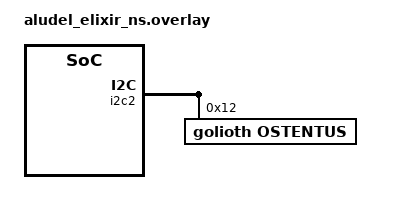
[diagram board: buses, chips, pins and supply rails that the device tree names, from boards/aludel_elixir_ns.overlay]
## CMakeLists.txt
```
# Copyright (c) 2022-2023 Golioth, Inc.
# SPDX-License-Identifier: Apache-2.0

cmake_minimum_required(VERSION 3.20.0)

find_package(Zephyr REQUIRED HINTS $ENV{ZEPHYR_BASE})

project(rd_template)

target_sources(app PRIVATE src/main.c)
target_sources(app PRIVATE src/app_rpc.c)
target_sources(app PRIVATE src/app_settings.c)
target_sources(app PRIVATE src/app_state.c)
target_sources(app PRIVATE src/app_sensors.c)
```

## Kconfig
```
# Copyright (c) 2022-2023 Golioth, Inc.
# SPDX-License-Identifier: Apache-2.0

mainmenu "Golioth application options"

if DNS_RESOLVER

config DNS_SERVER_IP_ADDRESSES
	default y

config DNS_SERVER1
	default "1.1.1.1"

endif # DNS_RESOLVER

source "Kconfig.zephyr"
```

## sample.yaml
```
# Copyright (c) 2022-2023 Golioth, Inc.
# SPDX-License-Identifier: Apache-2.0

sample:
  description: Golioth Reference Design Template
  name: rd_template
common:
  harness: net
  platform_allow: >
    nrf9160dk_nrf9160_ns
  tags: golioth
```

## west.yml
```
# Copyright (c) 2022-2023 Golioth, Inc.
# SPDX-License-Identifier: Apache-2.0

manifest:
  version: 1.0

  projects:
    - name: golioth
      path: modules/lib/golioth-firmware-sdk
      revision: v0.21.0
      url: https://github.com/golioth/golioth-firmware-sdk.git
      west-commands: scripts/west-commands.yml
      submodules: true
      import:
        file: west-ncs.yml
        path-prefix: deps
        name-allowlist:
          - nrf
          - zephyr
          - cmsis_6
          - hal_nordic
          - mbedtls
          - mbedtls-nrf
          - mcuboot
          - net-tools
          - nrfxlib
          - oberon-psa-crypto
          - qcbor
          - segger
          - tfm-mcuboot
          - tinycrypt
          - trusted-firmware-m
          - zcbor

    - name: golioth-zephyr-boards
      path: deps/modules/lib/golioth-boards
      revision: v2.1.1
      url: https://github.com/golioth/golioth-zephyr-boards

    - name: libostentus
      path: deps/modules/lib/libostentus
      revision: v2.0.0
      url: https://github.com/golioth/libostentus

    - name: zephyr-network-info
      path: deps/modules/lib/network-info
      revision: v1.2.0
      url: https://github.com/golioth/zephyr-network-info

    - name: golioth-battery-monitor
      path: deps/modules/lib/battery-monitor
      revision: v1.1.0
      url: https://github.com/golioth/battery-monitor

  self:
    path: app
```

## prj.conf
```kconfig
# Copyright (c) 2022-2023 Golioth, Inc.
# SPDX-License-Identifier: Apache-2.0

# Enable Golioth Firmware SDK
CONFIG_GOLIOTH_FIRMWARE_SDK=y

# Golioth services used in this app
CONFIG_GOLIOTH_FW_UPDATE=y
CONFIG_GOLIOTH_LIGHTDB_STATE=y
CONFIG_LOG_BACKEND_GOLIOTH=y
CONFIG_GOLIOTH_RPC=y
CONFIG_GOLIOTH_SETTINGS=y
CONFIG_GOLIOTH_STREAM=y

# Enable common sample library
CONFIG_GOLIOTH_SAMPLE_COMMON=y

# Configure Golioth SDK dependencies
CONFIG_ZVFS_EVENTFD_MAX=14
CONFIG_ZVFS_OPEN_MAX=23
CONFIG_LOG_PROCESS_THREAD_STACK_SIZE=1536
CONFIG_MBEDTLS_ENABLE_HEAP=y
CONFIG_MBEDTLS_HEAP_SIZE=10240
CONFIG_NETWORKING=y
CONFIG_NET_IPV4=y
CONFIG_COAP_EXTENDED_OPTIONS_LEN=y
CONFIG_COAP_EXTENDED_OPTIONS_LEN_VALUE=39

# Application
CONFIG_MAIN_STACK_SIZE=2048
CONFIG_NET_LOG=y
CONFIG_NET_SHELL=y
CONFIG_REBOOT=y

# Flash memory (etc.) for firmware upgrade
CONFIG_FLASH=y
CONFIG_FLASH_MAP=y
CONFIG_NVS=y
CONFIG_STREAM_FLASH=y
CONFIG_IMG_MANAGER=y
CONFIG_IMG_ERASE_PROGRESSIVELY=y
CONFIG_REBOOT=y

# The rest of the runtime credentials config
CONFIG_SETTINGS=y
CONFIG_SETTINGS_RUNTIME=y
CONFIG_GOLIOTH_SAMPLE_SETTINGS_AUTOLOAD=y
CONFIG_GOLIOTH_SAMPLE_SETTINGS_SHELL=y

# Misc.
CONFIG_JSON_LIBRARY=y

# Longer response length needed for network info
CONFIG_GOLIOTH_RPC_MAX_RESPONSE_LEN=512
CONFIG_I2C=y
```

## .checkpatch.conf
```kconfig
# Copyright (c) 2023 Zephyr Project members and individual contributors
# Copyright (c) 2023 Golioth, Inc.
# SPDX-License-Identifier: Apache-2.0

--emacs
--summary-file
--show-types
--max-line-length=100
--min-conf-desc-length=1
--typedefsfile=../deps/zephyr/scripts/checkpatch/typedefsfile

--ignore BRACES
--ignore PRINTK_WITHOUT_KERN_LEVEL
--ignore SPLIT_STRING
--ignore VOLATILE
--ignore CONFIG_EXPERIMENTAL
--ignore PREFER_KERNEL_TYPES
--ignore PREFER_SECTION
--ignore AVOID_EXTERNS
--ignore NETWORKING_BLOCK_COMMENT_STYLE
--ignore DATE_TIME
--ignore MINMAX
--ignore CONST_STRUCT
--ignore FILE_PATH_CHANGES
--ignore SPDX_LICENSE_TAG
--ignore C99_COMMENT_TOLERANCE
--ignore REPEATED_WORD
--ignore UNDOCUMENTED_DT_STRING
--ignore DT_SPLIT_BINDING_PATCH
--ignore DT_SCHEMA_BINDING_PATCH
--ignore TRAILING_SEMICOLON
--ignore COMPLEX_MACRO
--ignore MULTISTATEMENT_MACRO_USE_DO_WHILE
--ignore ENOSYS

--no-tree
--exclude patches
```

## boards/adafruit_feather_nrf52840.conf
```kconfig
# Copyright (c) 2022-2023 Golioth, Inc.
# SPDX-License-Identifier: Apache-2.0
CONFIG_GOLIOTH_SAMPLES_COMMON=y

CONFIG_LOG=y

CONFIG_NETWORKING=y
CONFIG_NET_L2_OPENTHREAD=y
CONFIG_MPSL=y

CONFIG_NET_SHELL=y
CONFIG_OPENTHREAD_SHELL=y
CONFIG_SHELL_ARGC_MAX=26
CONFIG_SHELL_CMD_BUFF_SIZE=416

# IMPORTANT: Change the Thread network credentials to match your Thread network setup
CONFIG_OPENTHREAD_NORDIC_LIBRARY_MASTER=y
CONFIG_OPENTHREAD_NETWORK_NAME="golioth-thread"
CONFIG_OPENTHREAD_NETWORKKEY="ef:4c:40:63:1c:65:d4:d9:c7:27:6e:c2:9c:d3:66:c4"
CONFIG_OPENTHREAD_CHANNEL=26

CONFIG_MBEDTLS_SHA1_C=n
CONFIG_FPU=y

# TLS configuration
CONFIG_MBEDTLS=y
CONFIG_MBEDTLS_BUILTIN=n
CONFIG_MBEDTLS_ENABLE_HEAP=y
CONFIG_MBEDTLS_HEAP_SIZE=10240

# PSK needs to be manually enabled to prevent ENOTSUP (-134)
CONFIG_MBEDTLS_KEY_EXCHANGE_SOME_PSK_ENABLED=y
CONFIG_MBEDTLS_KEY_EXCHANGE_PSK_ENABLED=y
CONFIG_NET_SOCKETS_SOCKOPT_TLS=y

# Golioth-specific configuration
CONFIG_GOLIOTH=y
CONFIG_GOLIOTH_SYSTEM_CLIENT=y

CONFIG_LOG_BACKEND_GOLIOTH=y
CONFIG_LOG_PROCESS_THREAD_STACK_SIZE=2048

# NAT64-prefixed coap.golioth.io IPv4
CONFIG_GOLIOTH_SYSTEM_SERVER_HOST="fd87:b615:1a98:2:0:0:2287:5a70"

#Increase TLS message size
CONFIG_MBEDTLS_SSL_IN_CONTENT_LEN=1400

# Debug
CONFIG_THREAD_NAME=y
CONFIG_SCHED_CPU_MASK=y
CONFIG_THREAD_ANALYZER=y

CONFIG_THREAD_NAME=y

# Shell setup
CONFIG_SHELL=y

# Settings shell
CONFIG_SETTINGS=y
CONFIG_GOLIOTH_SETTINGS=y
CONFIG_SETTINGS_RUNTIME=y
CONFIG_GOLIOTH_SAMPLE_PSK_SETTINGS=y
CONFIG_GOLIOTH_SAMPLE_SETTINGS_AUTOLOAD=y
CONFIG_GOLIOTH_SAMPLE_SETTINGS_SHELL=y

CONFIG_FLASH=y
CONFIG_FLASH_MAP=y
CONFIG_NVS=y

CONFIG_SYSTEM_WORKQUEUE_STACK_SIZE=8192
```

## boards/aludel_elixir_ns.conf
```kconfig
# Copyright (c) 2024 Golioth, Inc.
# SPDX-License-Identifier: Apache-2.0

# Battery Support
CONFIG_ALUDEL_BATTERY_MONITOR=y

# Turn on regulator to power click headers
CONFIG_REGULATOR=y
```

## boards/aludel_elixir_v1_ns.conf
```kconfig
# Copyright (c) 2023 Golioth, Inc.
# SPDX-License-Identifier: Apache-2.0

# General config
CONFIG_HEAP_MEM_POOL_SIZE=4096
CONFIG_NEWLIB_LIBC=y

# Networking
CONFIG_NET_SOCKETS_OFFLOAD=y
CONFIG_NET_IPV6=y
CONFIG_NET_IPV6_NBR_CACHE=n
CONFIG_NET_IPV6_MLD=n

# Increase native TLS socket implementation, so that it is chosen instead of
# offloaded nRF91 sockets
CONFIG_NET_SOCKETS_TLS_PRIORITY=35

# Modem library
CONFIG_NRF_MODEM_LIB=y
CONFIG_NRF_MODEM_LIB_ON_FAULT_APPLICATION_SPECIFIC=y

# LTE connectivity with network connection manager
CONFIG_LTE_CONNECTIVITY=y
CONFIG_NET_CONNECTION_MANAGER=y
CONFIG_NET_CONNECTION_MANAGER_MONITOR_STACK_SIZE=1024

# Increased sysworkq size, due to LTE connectivity
CONFIG_SYSTEM_WORKQUEUE_STACK_SIZE=2048

# Disable options y-selected by NCS for no good reason
CONFIG_MBEDTLS_KEY_EXCHANGE_DHE_PSK_ENABLED=n
CONFIG_MBEDTLS_KEY_EXCHANGE_DHE_RSA_ENABLED=n

# Fuel Gauge
CONFIG_SENSOR=y

# Add Network Info Support
CONFIG_MODEM_INFO=y
CONFIG_GOLIOTH_RPC_MAX_RESPONSE_LEN=512

# Generate MCUboot compatible images
CONFIG_BOOTLOADER_MCUBOOT=y

# Use Golioth Ostentus Faceplate
CONFIG_LIB_OSTENTUS=y
```

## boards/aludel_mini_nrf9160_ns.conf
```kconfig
# Copyright (c) 2023 Golioth, Inc.
# SPDX-License-Identifier: Apache-2.0

# Battery Support
CONFIG_ALUDEL_BATTERY_MONITOR=y
```

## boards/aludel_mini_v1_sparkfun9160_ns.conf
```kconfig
# Copyright (c) 2023 Golioth, Inc.
# SPDX-License-Identifier: Apache-2.0

# General config
CONFIG_HEAP_MEM_POOL_SIZE=4096
CONFIG_NEWLIB_LIBC=y

# Networking
CONFIG_NET_SOCKETS_OFFLOAD=y
CONFIG_NET_IPV6=y
CONFIG_NET_IPV6_NBR_CACHE=n
CONFIG_NET_IPV6_MLD=n

# Increase native TLS socket implementation, so that it is chosen instead of
# offloaded nRF91 sockets
CONFIG_NET_SOCKETS_TLS_PRIORITY=35

# Modem library
CONFIG_NRF_MODEM_LIB=y
CONFIG_NRF_MODEM_LIB_ON_FAULT_APPLICATION_SPECIFIC=y

# LTE connectivity with network connection manager
CONFIG_NRF_MODEM_LIB_NET_IF=y
CONFIG_NRF_MODEM_LIB_NET_IF_AUTO_START=y
CONFIG_NRF_MODEM_LIB_NET_IF_AUTO_CONNECT=n
CONFIG_NET_CONNECTION_MANAGER=y
CONFIG_NET_CONNECTION_MANAGER_MONITOR_STACK_SIZE=1024

# Add Logs for LTE Link Handler
CONFIG_GOLIOTH_SAMPLE_NRF91_LTE_MONITOR=y

# Disable options y-selected by NCS for no good reason
CONFIG_MBEDTLS_KEY_EXCHANGE_DHE_PSK_ENABLED=n
CONFIG_MBEDTLS_KEY_EXCHANGE_DHE_RSA_ENABLED=n

# Battery Support
CONFIG_ALUDEL_BATTERY_MONITOR=y

# Add Network Info Support
CONFIG_MODEM_INFO=y

# Generate MCUboot compatible images
CONFIG_BOOTLOADER_MCUBOOT=y
```

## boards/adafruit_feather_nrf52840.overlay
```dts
/* Copyright (c) 2020 Nordic Semiconductor ASA
 *
 * SPDX-License-Identifier: LicenseRef-Nordic-5-Clause
 */

/ {
	chosen {
		zephyr,entropy = &rng;
		nordic,pm-ext-flash = &gd25q16;
	};

	aliases {
		golioth-led = &led1;
		user-btn = &button0;
	};
};

&uart0 {
	status = "okay";
};
```

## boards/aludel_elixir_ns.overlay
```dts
&i2c2 {
    /* Needed for I2C writes used by libostentus */
    zephyr,concat-buf-size = <48>;

    ostentus@12 {
        status = "okay";
        compatible = "golioth,ostentus";
        reg = <0x12>;
    };
};
```

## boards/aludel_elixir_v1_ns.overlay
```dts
/*
 * Copyright (c) 2024 Golioth, Inc.
 *
 * SPDX-License-Identifier: Apache-2.0
 */

&qwiic_i2c {
	status = "okay";
};
```

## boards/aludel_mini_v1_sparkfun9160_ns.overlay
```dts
/* Copyright (c) 2020 Nordic Semiconductor ASA
 *
 * SPDX-License-Identifier: LicenseRef-Nordic-5-Clause
 */

/ {
	aliases {
		user-btn = &user_btn_n;
	};
};
```

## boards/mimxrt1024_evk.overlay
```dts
/ {
	aliases {
		sw1 = &user_button;
		golioth-led = &green_led;
	};

	soc {
		/delete-node/ enet@402d8000;

		enet: ethernet@402d8000 {
			compatible = "nxp,kinetis-ethernet";
			reg = <0x402D8000 0x628>;
			interrupts = <114 0>;
			interrupt-names = "COMMON";
			status = "disabled";
			phy-addr = <0>;
			ptp: ptp {
				compatible = "nxp,kinetis-ptp";
				status = "disabled";
				interrupts = <115 0>;
				interrupt-names = "IEEE1588_TMR";
			};
		};
	};
};

&enet {
	status = "okay";
	pinctrl-0 = <&pinmux_enet>;
	pinctrl-names = "default";
	int-gpios = <&gpio1 22 GPIO_ACTIVE_HIGH>;
	reset-gpios = <&gpio1 4 GPIO_ACTIVE_HIGH>;
	ptp {
		status = "okay";
		pinctrl-0 = <&pinmux_ptp>;
		pinctrl-names = "default";
	};
};

&pinctrl {
	/delete-node/ pinmux_enet;
	/delete-node/ pinmux_enet_mdio;
	/delete-node/ pinmux_ptp;

	pinmux_enet: pinmux_enet {
		group0 {
			pinmux = <&iomuxc_gpio_ad_b0_08_enet_ref_clk>;
			bias-disable;
			drive-strength = "r0-6";
			slew-rate = "fast";
			nxp,speed = "50-mhz";
			input-enable;
		};
		group1 {
			pinmux = <&iomuxc_gpio_ad_b0_04_gpio1_io04>;
			drive-strength = "r0-5";
			bias-pull-up;
			bias-pull-up-value = "100k";
			slew-rate = "fast";
			nxp,speed = "100-mhz";
		};
		group2 {
			pinmux = <&iomuxc_gpio_ad_b0_09_enet_rx_data1>,
				<&iomuxc_gpio_ad_b0_11_enet_rx_en>,
				<&iomuxc_gpio_ad_b0_14_enet_tx_data0>,
				<&iomuxc_gpio_ad_b0_15_enet_tx_data1>,
				<&iomuxc_gpio_ad_b0_13_enet_tx_en>,
				<&iomuxc_gpio_ad_b0_12_enet_rx_er>,
				<&iomuxc_gpio_emc_40_enet_mdio>,
				<&iomuxc_gpio_emc_41_enet_mdc>;
			drive-strength = "r0-5";
			bias-pull-up;
			bias-pull-up-value = "100k";
			slew-rate = "fast";
			nxp,speed = "200-mhz";
		};
		group3 {
			pinmux = <&iomuxc_gpio_ad_b1_06_gpio1_io22>;
			drive-strength = "r0-5";
			bias-pull-up;
			bias-pull-up-value = "100k";
			slew-rate = "slow";
			nxp,speed = "100-mhz";
		};
		group4 {
			pinmux = <&iomuxc_gpio_ad_b0_10_enet_rx_data0>;
			drive-strength = "r0-6";
			slew-rate = "slow";
			nxp,speed = "100-mhz";
		};
	};

	/* intentionally left empty */
	pinmux_ptp: pinmux_ptp {
	};
};
```

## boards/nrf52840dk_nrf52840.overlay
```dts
/* Copyright (c) 2020 Nordic Semiconductor ASA
 *
 * SPDX-License-Identifier: LicenseRef-Nordic-5-Clause
 */

/ {
	chosen {
		zephyr,entropy = &rng;
		nordic,pm-ext-flash = &mx25r64;
	};

	aliases {
		golioth-led = &led1;
		user-btn = &button0;
	};

};

&uart0 {
	status = "okay";
};
```

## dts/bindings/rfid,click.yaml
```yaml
# Copyright (c) 2023 Golioth, Inc.
# SPDX-License-Identifier: Apache-2.0

description: |
    RFID Click

compatible: "rfid,click"

include: spi-device.yaml
```

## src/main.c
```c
/*
 * Copyright (c) 2022-2023 Golioth, Inc.
 *
 * SPDX-License-Identifier: Apache-2.0
 */

#include <zephyr/logging/log.h>
LOG_MODULE_REGISTER(golioth_rd_template, LOG_LEVEL_DBG);

#include <app_version.h>
#include "app_rpc.h"
#include "app_settings.h"
#include "app_state.h"
#include "app_sensors.h"
#include <golioth/client.h>
#include <golioth/fw_update.h>
#include <samples/common/net_connect.h>
#include <samples/common/sample_credentials.h>
#include <zephyr/kernel.h>

#ifdef CONFIG_SOC_SERIES_NRF91X
#include <modem/lte_lc.h>
#endif
#ifdef CONFIG_LIB_OSTENTUS
#include <libostentus.h>
#include <libostentus_regmap.h>
static const struct device *o_dev = DEVICE_DT_GET_ANY(golioth_ostentus);
#endif
#ifdef CONFIG_ALUDEL_BATTERY_MONITOR
#include <battery_monitor.h>
#endif

#include <zephyr/drivers/gpio.h>

#ifdef CONFIG_MODEM_INFO
#include <modem/modem_info.h>
#endif

/* Current firmware version; update in VERSION */
static const char *_current_version =
	STRINGIFY(APP_VERSION_MAJOR) "." STRINGIFY(APP_VERSION_MINOR) "." STRINGIFY(APP_PATCHLEVEL);

static struct golioth_client *client;
K_SEM_DEFINE(connected, 0, 1);

static k_tid_t _system_thread = 0;

#if DT_NODE_EXISTS(DT_ALIAS(golioth_led))
static const struct gpio_dt_spec golioth_led = GPIO_DT_SPEC_GET(DT_ALIAS(golioth_led), gpios);
#endif /* DT_NODE_EXISTS(DT_ALIAS(golioth_led)) */
static const struct gpio_dt_spec user_btn = GPIO_DT_SPEC_GET(DT_ALIAS(sw1), gpios);
static struct gpio_callback button_cb_data;

/* forward declarations */
void golioth_connection_led_set(uint8_t state);

void wake_system_thread(void)
{
	k_wakeup(_system_thread);
}

static void on_client_event(struct golioth_client *client, enum golioth_client_event event,
			    void *arg)
{
	bool is_connected = (event == GOLIOTH_CLIENT_EVENT_CONNECTED);

	if (is_connected) {
		k_sem_give(&connected);
		golioth_connection_led_set(1);
	}
	LOG_INF("Golioth client %s", is_connected ? "connected" : "disconnected");
}

static void start_golioth_client(void)
{
	/* Get the client configuration from auto-loaded settings */
	const struct golioth_client_config *client_config = golioth_sample_credentials_get();

	/* Create and start a Golioth Client */
	client = golioth_client_create(client_config);

	/* Register Golioth on_connect callback */
	golioth_client_register_event_callback(client, on_client_event, NULL);

	/* Initialize DFU components */
	golioth_fw_update_init(client, _current_version);

	/*** Call Golioth APIs for other services in dedicated app files ***/

	/* Observe State service data */
	app_state_observe(client);

	/* Set Golioth Client for streaming sensor data */
	app_sensors_set_client(client);

	/* Register Settings service */
	app_settings_register(client);

	/* Register RPC service */
	app_rpc_register(client);
}

#ifdef CONFIG_SOC_SERIES_NRF91X

static void lte_handler(const struct lte_lc_evt *const evt)
{
	if (evt->type == LTE_LC_EVT_NW_REG_STATUS) {

		if ((evt->nw_reg_status == LTE_LC_NW_REG_REGISTERED_HOME) ||
		    (evt->nw_reg_status == LTE_LC_NW_REG_REGISTERED_ROAMING)) {

			/* Change the state of the Internet LED on Ostentus */
			IF_ENABLED(CONFIG_LIB_OSTENTUS, (ostentus_led_internet_set(o_dev, 1);));

			if (!client) {
				/* Create and start a Golioth Client */
				start_golioth_client();
			}
		}
	}
}

#endif /* CONFIG_SOC_SERIES_NRF91X */

#ifdef CONFIG_MODEM_INFO
static void log_modem_firmware_version(void)
{
	char sbuf[128];

	/* Initialize modem info */
	int err = modem_info_init();

	if (err) {
		LOG_ERR("Failed to initialize modem info: %d", err);
	}

	/* Log modem firmware version */
	modem_info_string_get(MODEM_INFO_FW_VERSION, sbuf, sizeof(sbuf));
	LOG_INF("Modem firmware version: %s", sbuf);
}
#endif

void button_pressed(const struct device *dev, struct gpio_callback *cb, uint32_t pins)
{
	LOG_DBG("Button pressed at %d", k_cycle_get_32());
	/* This function is an Interrupt Service Routine. Do not call functions that
	 * use other threads, or perform long-running operations here
	 */
	k_wakeup(_system_thread);
}

/* Set (unset) LED indicators for active Golioth connection */
void golioth_connection_led_set(uint8_t state)
{
	uint8_t pin_state = state ? 1 : 0;
	ARG_UNUSED(pin_state); /* silence warning if no LED/Ostentus present */

	/* Turn on Golioth logo LED once connected */
	IF_ENABLED(DT_NODE_EXISTS(DT_ALIAS(golioth_led)),
		(gpio_pin_set_dt(&golioth_led, pin_state);));

	/* Change the state of the Golioth LED on Ostentus */
	IF_ENABLED(CONFIG_LIB_OSTENTUS, (ostentus_led_golioth_set(o_dev, pin_state);));
}

int main(void)
{
	int err;

	LOG_DBG("Start Reference Design Template sample");

	LOG_INF("Firmware version: %s", _current_version);
	IF_ENABLED(CONFIG_MODEM_INFO, (log_modem_firmware_version();));

	IF_ENABLED(CONFIG_LIB_OSTENTUS, (
		/* Reset Ostentus and pause for reboot */
		ostentus_reset(o_dev);
		k_msleep(300);

		/* Read firmware version from faceplate */
		char *o_version = (char *)calloc(32, sizeof(char));

		ostentus_version_get(o_dev, o_version, 32);
		LOG_INF("Ostentus reports firmware version: %s", o_version);
		free(o_version);

		/* Update Ostentus LEDS using bitmask (Power On and Battery) */
		ostentus_led_bitmask(o_dev, LED_POW | LED_BAT);

		/* Show Golioth Logo on Ostentus ePaper screen */
		ostentus_show_splash(o_dev);
	));

	/* Get system thread id so loop delay change event can wake main */
	_system_thread = k_current_get();

#if DT_NODE_EXISTS(DT_ALIAS(golioth_led))
	/* Initialize Golioth logo LED */
	err = gpio_pin_configure_dt(&golioth_led, GPIO_OUTPUT_INACTIVE);
	if (err) {
		LOG_ERR("Unable to configure LED for Golioth Logo");
	}
#endif /* #if DT_NODE_EXISTS(DT_ALIAS(golioth_led)) */

#ifdef CONFIG_SOC_SERIES_NRF91X
	/* Start LTE asynchronously if the nRF9160 is used.
	 * Golioth Client will start automatically when LTE connects
	 */

	LOG_INF("Connecting to LTE, this may take some time...");
	lte_lc_connect_async(lte_handler);

#else
	/* If nRF9160 is not used, start the Golioth Client and block until connected */

	/* Run WiFi/DHCP if necessary */
	if (IS_ENABLED(CONFIG_GOLIOTH_SAMPLE_COMMON)) {
		net_connect();
	}

	/* Start Golioth client */
	start_golioth_client();

	/* Block until connected to Golioth */
	k_sem_take(&connected, K_FOREVER);
#endif /* CONFIG_SOC_SERIES_NRF91X */

	/* Set up user button */
	err = gpio_pin_configure_dt(&user_btn, GPIO_INPUT);
	if (err) {
		LOG_ERR("Error %d: failed to configure %s pin %d", err, user_btn.port->name,
			user_btn.pin);
		return err;
	}

	err = gpio_pin_interrupt_configure_dt(&user_btn, GPIO_INT_EDGE_TO_ACTIVE);
	if (err) {
		LOG_ERR("Error %d: failed to configure interrupt on %s pin %d", err,
			user_btn.port->name, user_btn.pin);
		return err;
	}

	gpio_init_callback(&button_cb_data, button_pressed, BIT(user_btn.pin));
	gpio_add_callback(user_btn.port, &button_cb_data);

	IF_ENABLED(CONFIG_LIB_OSTENTUS,(
		/* Set up a slideshow on Ostentus
		 *  - add up to 256 slides
		 *  - use the enum in app_sensors.h to add new keys
		 *  - values are updated using these keys (see app_sensors.c)
		 */
		ostentus_slide_add(o_dev, UP_COUNTER, LABEL_UP_COUNTER, strlen(LABEL_UP_COUNTER));
		ostentus_slide_add(o_dev, DN_COUNTER, LABEL_DN_COUNTER, strlen(LABEL_DN_COUNTER));
		IF_ENABLED(CONFIG_ALUDEL_BATTERY_MONITOR, (
			ostentus_slide_add(o_dev,
					   BATTERY_V,
					   LABEL_BATTERY,
					   strlen(LABEL_BATTERY));
			ostentus_slide_add(o_dev,
					   BATTERY_PCT,
					   LABEL_BATTERY,
					   strlen(LABEL_BATTERY));
		));
		ostentus_slide_add(o_dev, FIRMWARE, LABEL_FIRMWARE, strlen(LABEL_FIRMWARE));

		/* Set the title of the Ostentus summary slide (optional) */
		ostentus_summary_title(o_dev, SUMMARY_TITLE, strlen(SUMMARY_TITLE));

		/* Update the Firmware slide with the firmware version */
		ostentus_slide_set(o_dev, FIRMWARE, (char *)_current_version,
			  strlen(_current_version));

		/* Start Ostentus slideshow with 30 second delay between slides */
		ostentus_slideshow(o_dev, 30000);
	));

	while (true) {
		app_sensors_read_and_stream();

		k_sleep(K_SECONDS(get_loop_delay_s()));
	}
}
```

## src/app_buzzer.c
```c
/*
 * Copyright (c) 2024 Golioth, Inc.
 *
 * SPDX-License-Identifier: Apache-2.0
 */

#if defined(CONFIG_BOARD_ALUDEL_ELIXIR_NRF9160_NS)

#include <zephyr/logging/log.h>
LOG_MODULE_REGISTER(app_buzzer, LOG_LEVEL_DBG);

#include <stdlib.h>
#include <zephyr/device.h>
#include <zephyr/drivers/pwm.h>
#include <zephyr/kernel.h>

#define FUNKYTOWN_NOTES 13
#define MARIO_NOTES	37
#define GOLIOTH_NOTES	21

#define BUZZER_MAX_FREQ 2500
#define BUZZER_MIN_FREQ 75

#define sixteenth 38
#define eigth	  75
#define quarter	  150
#define half	  300
#define whole	  600

#define C4  262
#define Db4 277
#define D4  294
#define Eb4 311
#define E4  330
#define F4  349
#define Gb4 370
#define G4  392
#define Ab4 415
#define A4  440
#define Bb4 466
#define B4  494
#define C5  523
#define Db5 554
#define D5  587
#define Eb5 622
#define E5  659
#define F5  698
#define Gb5 740
#define G5  784
#define Ab5 831
#define A5  880
#define Bb5 932
#define B5  988
#define C6  1046
#define Db6 1109
#define D6  1175
#define Eb6 1245
#define E6  1319
#define F6  1397
#define Gb6 1480
#define G6  1568
#define Ab6 1661
#define A6  1760
#define Bb6 1865
#define B6  1976

#define REST 1

static const struct pwm_dt_spec sBuzzer = PWM_DT_SPEC_GET(DT_ALIAS(buzzer_pwm));

enum song_choice {
	beep,
	funkytown,
	mario,
	golioth
};

enum song_choice song = 3;

struct note_duration {
	int note;     /* hz */
	int duration; /* msec */
};

static struct note_duration funkytown_song[FUNKYTOWN_NOTES] = {
	{.note = C5, .duration = quarter},
	{.note = REST, .duration = eigth},
	{.note = C5, .duration = quarter},
	{.note = Bb4, .duration = quarter},
	{.note = C5, .duration = quarter},
	{.note = REST, .duration = quarter},
	{.note = G4, .duration = quarter},
	{.note = REST, .duration = quarter},
	{.note = G4, .duration = quarter},
	{.note = C5, .duration = quarter},
	{.note = F5, .duration = quarter},
	{.note = E5, .duration = quarter},
	{.note = C5, .duration = quarter}};

static struct note_duration mario_song[MARIO_NOTES] = {
	{.note = E6, .duration = quarter},
	{.note = REST, .duration = eigth},
	{.note = E6, .duration = quarter},
	{.note = REST, .duration = quarter},
	{.note = E6, .duration = quarter},
	{.note = REST, .duration = quarter},
	{.note = C6, .duration = quarter},
	{.note = E6, .duration = half},
	{.note = G6, .duration = half},
	{.note = REST, .duration = quarter},
	{.note = G4, .duration = whole},
	{.note = REST, .duration = whole},
	/* break in sound */
	{.note = C6, .duration = half},
	{.note = REST, .duration = quarter},
	{.note = G5, .duration = half},
	{.note = REST, .duration = quarter},
	{.note = E5, .duration = half},
	{.note = REST, .duration = quarter},
	{.note = A5, .duration = quarter},
	{.note = REST, .duration = quarter},
	{.note = B5, .duration = quarter},
	{.note = REST, .duration = quarter},
	{.note = Bb5, .duration = quarter},
	{.note = A5, .duration = half},
	{.note = G5, .duration = quarter},
	{.note = E6, .duration = quarter},
	{.note = G6, .duration = quarter},
	{.note = A6, .duration = half},
	{.note = F6, .duration = quarter},
	{.note = G6, .duration = quarter},
	{.note = REST, .duration = quarter},
	{.note = E6, .duration = quarter},
	{.note = REST, .duration = quarter},
	{.note = C6, .duration = quarter},
	{.note = D6, .duration = quarter},
	{.note = B5, .duration = quarter}};

static struct note_duration golioth_song[] = {
	{.note = C6, .duration = quarter},
	{.note = REST, .duration = 100},
	{.note = G5, .duration = 100},
	{.note = A5, .duration = 100},
	{.note = Bb5, .duration = 100},
	{.note = REST, .duration = 100},
	{.note = Bb5, .duration = 100},
	{.note = REST, .duration = quarter},
	{.note = C5, .duration = half},
	{.note = REST, .duration = half},
	{.note = REST, .duration = quarter},
	{.note = C6, .duration = quarter}
};

/* Thread plays song on buzzer */

K_SEM_DEFINE(buzzer_initialized_sem, 0, 1); /* Wait until buzzer is ready */

#define BUZZER_STACK 1024

extern void buzzer_thread(void *d0, void *d1, void *d2)
{
	/* Block until buzzer is available */
	k_sem_take(&buzzer_initialized_sem, K_FOREVER);
	while (1) {
		switch (song) {
		case 0:
			LOG_DBG("beep");
			pwm_set_dt(&sBuzzer, PWM_HZ(1000), PWM_HZ(1000) / 2);
			k_msleep(100);
			break;
		case 1:
			LOG_DBG("funkytown");
			for (int i = 0; i < FUNKYTOWN_NOTES; i++) {
				if (funkytown_song[i].note < 10) {
					/* Low frequency notes represent a 'pause' */
					pwm_set_pulse_dt(&sBuzzer, 0);
					k_msleep(funkytown_song[i].duration);
				} else {
					pwm_set_dt(&sBuzzer, PWM_HZ(funkytown_song[i].note),
						   PWM_HZ((funkytown_song[i].note)) / 2);
					k_msleep(funkytown_song[i].duration);
				}
			}
			break;

		case 2:
			LOG_DBG("mario");
			for (int i = 0; i < MARIO_NOTES; i++) {
				if (mario_song[i].note < 10) {
					/* Low frequency notes represent a 'pause' */
					pwm_set_pulse_dt(&sBuzzer, 0);
					k_msleep(mario_song[i].duration);
				} else {
					pwm_set_dt(&sBuzzer, PWM_HZ(mario_song[i].note),
						   PWM_HZ((mario_song[i].note)) / 2);
					k_msleep(mario_song[i].duration);
				}
			}
			break;
		case 3:
			LOG_DBG("golioth");
			for (int i = 0; i < (sizeof(golioth_song) / sizeof(golioth_song[1])); i++) {
				if (golioth_song[i].note < 10) {
					/* Low frequency notes represent a 'pause' */
					pwm_set_pulse_dt(&sBuzzer, 0);
					k_msleep(golioth_song[i].duration);
				} else {
					pwm_set_dt(&sBuzzer, PWM_HZ(golioth_song[i].note),
						   PWM_HZ((golioth_song[i].note)) / 2);
					k_msleep(golioth_song[i].duration);
				}
			}
			break;
		default:
			LOG_WRN("invalid switch state");
			break;
		}

		/* turn buzzer off (pulse duty to 0) */
		pwm_set_pulse_dt(&sBuzzer, 0);

		/* Sleep thread until awoken externally */
		k_sleep(K_FOREVER);
	}
}

int app_buzzer_init(void)
{
	if (!device_is_ready(sBuzzer.dev)) {
		return -ENODEV;
	}
	k_sem_give(&buzzer_initialized_sem);
	return 0;
}

K_THREAD_DEFINE(buzzer_tid, BUZZER_STACK, buzzer_thread, NULL, NULL, NULL,
		K_LOWEST_APPLICATION_THREAD_PRIO, 0, 0);

void play_beep_once(void)
{
	song = beep;
	k_wakeup(buzzer_tid);
}

void play_funkytown_once(void)
{
	song = funkytown;
	k_wakeup(buzzer_tid);
}

void play_mario_once(void)
{
	song = mario;
	k_wakeup(buzzer_tid);
}

void play_golioth_once(void)
{
	song = golioth;
	k_wakeup(buzzer_tid);
}

#else

int app_buzzer_init(void)
{
	return 0;
}

void play_beep_once(void)
{
	return;
}

#endif /* CONFIG_BOARD_THINGY91_NRF9160_NS */
```

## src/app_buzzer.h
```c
/*
 * Copyright (c) 2024 Golioth, Inc.
 *
 * SPDX-License-Identifier: Apache-2.0
 */

#ifndef __APP_BUZZER_H__
#define __APP_BUZZER_H__

int app_buzzer_init(void);
void play_beep_once(void);

#if defined(CONFIG_BOARD_ALUDEL_ELIXIR_NRF9160_NS)
void play_funkytown_once(void);
void play_mario_once(void);
void play_golioth_once(void);
#endif /* CONFIG_BOARD_THINGY91_NRF9160_NS */

#endif /* __APP_BUZZER__H__ */
```

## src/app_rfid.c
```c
/*
 * Copyright (c) 2023 Golioth, Inc.
 *
 * SPDX-License-Identifier: Apache-2.0
 */

#include "zephyr/device.h"
#include "zephyr/devicetree.h"
#include "zephyr/kernel.h"
#include <string.h>
#include <sys/_stdint.h>
#include <zephyr/drivers/gpio.h>                                                                                                                                                     
#include <zephyr/drivers/spi.h>
#include <zephyr/logging/log.h>
LOG_MODULE_REGISTER(app_rfid, LOG_LEVEL_DBG);
#include "rfid_click.h"

#define RFID_STACK 2048
extern void rfid_thread(void *d0, void *d1, void *d2);
K_THREAD_DEFINE(rfid_tid, RFID_STACK, rfid_thread, NULL, NULL, NULL,
		K_LOWEST_APPLICATION_THREAD_PRIO, 0, 0);

#define SPI_OP	SPI_OP_MODE_MASTER | SPI_WORD_SET(8) | SPI_LINES_SINGLE | SPI_FULL_DUPLEX
const struct spi_dt_spec spi_dev = SPI_DT_SPEC_GET(DT_NODELABEL(rfid_click), SPI_OP, 0);
static const struct gpio_dt_spec rfid_wakeup_pin = GPIO_DT_SPEC_GET(DT_ALIAS(rfid_wakeup_pin), gpios);
static const struct gpio_dt_spec rfid_data_ready_pin = GPIO_DT_SPEC_GET(DT_ALIAS(rfid_data_ready_pin), gpios);
static const struct gpio_dt_spec rfid_led = GPIO_DT_SPEC_GET(DT_ALIAS(rfid_led), gpios);

// ToDo: wait_for_data_ready is a blocking function, solve with IRQ
// ToDO: create a msgq for UUID exchange between rfid_thread and a consumer
// ToDo: split to drivers/CR95HN, and sensors/rfid_click
extern void rfid_thread(void *d0, void *d1, void *d2)
{
	if(!spi_is_ready_dt(&spi_dev)) {
		LOG_ERR("SPI master device not ready!\n");
	}

	/* Initialize Golioth logo LED */
	int err = gpio_pin_configure_dt(&rfid_led, GPIO_OUTPUT_INACTIVE);
	if (err) {
		LOG_ERR("Unable to configure RFID LED");
	}

	/* Initialize RFID CLick, SPI device and control pins */
	init_rfid_click(&spi_dev, &rfid_data_ready_pin, &rfid_wakeup_pin);
	k_sleep(K_MSEC(20));
	
	// wait until echo OK
	while(rfid_check_echo(&spi_dev)) {
		k_sleep(K_MSEC(500));
	}

	uint32_t uuid = 0;

	while(1) {
		while(!rfid_detect_tag(&spi_dev));
	
		gpio_pin_set_dt(&rfid_led, 1);
		
		rfid_get_tag_uid(&spi_dev, &uuid);
		LOG_INF("RFID UUID = 0x%x", uuid);
		k_sleep(K_SECONDS(1));
		
		gpio_pin_set_dt(&rfid_led, 0);
		k_sleep(K_SECONDS(1));
	}
}
```

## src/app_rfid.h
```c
/*
 * Copyright (c) 2023 Golioth, Inc.
 *
 * SPDX-License-Identifier: Apache-2.0
 */

#ifndef __APP_RFID_H__
#define __APP_RFID_H__


#endif
```

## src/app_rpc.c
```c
/*
 * Copyright (c) 2022-2023 Golioth, Inc.
 *
 * SPDX-License-Identifier: Apache-2.0
 */

#include <zephyr/logging/log.h>
LOG_MODULE_REGISTER(app_rpc, LOG_LEVEL_DBG);

#include <golioth/client.h>
#include <golioth/rpc.h>
#include <zephyr/logging/log_ctrl.h>
#include <zephyr/sys/reboot.h>

#ifdef CONFIG_NETWORK_INFO
#include <network_info.h>
#endif

#include "app_rpc.h"

static void reboot_work_handler(struct k_work *work)
{
	for (int8_t i = 5; i >= 0; i--) {
		if (i) {
			LOG_INF("Rebooting in %d seconds...", i);
		}
		k_sleep(K_SECONDS(1));
	}

	/* Sync logs before reboot */
	LOG_PANIC();

	sys_reboot(SYS_REBOOT_COLD);
}
K_WORK_DEFINE(reboot_work, reboot_work_handler);

static enum golioth_rpc_status on_get_network_info(zcbor_state_t *request_params_array,
						   zcbor_state_t *response_detail_map,
						   void *callback_arg)
{
	COND_CODE_1(CONFIG_NETWORK_INFO,
		    (network_info_add_to_map(response_detail_map); return GOLIOTH_RPC_OK;),
		    (return GOLIOTH_RPC_UNIMPLEMENTED););
}

static enum golioth_rpc_status on_set_log_level(zcbor_state_t *request_params_array,
						zcbor_state_t *response_detail_map,
						void *callback_arg)
{
	double param_0;
	uint8_t log_level;
	bool ok;

	LOG_WRN("on_set_log_level");

	ok = zcbor_float_decode(request_params_array, &param_0);
	if (!ok) {
		LOG_ERR("Failed to decode array item");
		return GOLIOTH_RPC_INVALID_ARGUMENT;
	}

	log_level = (uint8_t)param_0;

	if ((log_level < 0) || (log_level > LOG_LEVEL_DBG)) {

		LOG_ERR("Requested log level is out of bounds: %d", log_level);
		return GOLIOTH_RPC_INVALID_ARGUMENT;
	}

	int source_id = 0;
	char *source_name;

	while (1) {
		source_name = (char *)log_source_name_get(0, source_id);
		if (source_name == NULL) {
			break;
		}

		log_filter_set(NULL, 0, source_id, log_level);
		++source_id;
	}

	LOG_WRN("Log levels for %d modules set to: %d", source_id, log_level);

	ok = zcbor_tstr_put_lit(response_detail_map, "log_modules") &&
	     zcbor_float64_put(response_detail_map, (double)source_id);

	return GOLIOTH_RPC_OK;
}

static enum golioth_rpc_status on_reboot(zcbor_state_t *request_params_array,
					 zcbor_state_t *response_detail_map,
					 void *callback_arg)
{
	/* Use work queue so this RPC can return confirmation to Golioth */
	k_work_submit(&reboot_work);

	return GOLIOTH_RPC_OK;
}

static void rpc_log_if_register_failure(int err)
{
	if (err) {
		LOG_ERR("Failed to register RPC: %d", err);
	}
}

void app_rpc_register(struct golioth_client *client)
{
	struct golioth_rpc *rpc = golioth_rpc_init(client);

	int err;

	err = golioth_rpc_register(rpc, "get_network_info", on_get_network_info, NULL);
	rpc_log_if_register_failure(err);

	err = golioth_rpc_register(rpc, "reboot", on_reboot, NULL);
	rpc_log_if_register_failure(err);

	err = golioth_rpc_register(rpc, "set_log_level", on_set_log_level, NULL);
	rpc_log_if_register_failure(err);
}
```

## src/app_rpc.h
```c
/*
 * Copyright (c) 2022-2023 Golioth, Inc.
 *
 * SPDX-License-Identifier: Apache-2.0
 */

/**
 * Handle remote procedure calls received from Golioth, returning a status code
 * indicating the success or failure of the call.
 *
 * This demonstration implements the following RPCs:
 * - `get_network_info`: Query and return network information.
 * - `reboot`: reboot the device (no arguments)
 * - `set_log_level`: adjust the logging level for all registered modules (valid
 *   argument values: 0..4)
 *
 * https://docs.golioth.io/firmware/zephyr-device-sdk/remote-procedure-call
 */

#ifndef __APP_RPC_H__
#define __APP_RPC_H__

#include <golioth/client.h>

void app_rpc_register(struct golioth_client *client);

#endif /* __APP_RPC_H__ */
```

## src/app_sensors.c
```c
/*
 * Copyright (c) 2022-2023 Golioth, Inc.
 *
 * SPDX-License-Identifier: Apache-2.0
 */

#include <zephyr/logging/log.h>
LOG_MODULE_REGISTER(app_sensors, LOG_LEVEL_DBG);

#include <golioth/client.h>
#include <golioth/stream.h>
#include <zcbor_encode.h>
#include <zephyr/drivers/gpio.h>
#include <zephyr/kernel.h>

#include "app_sensors.h"

#ifdef CONFIG_LIB_OSTENTUS
#include <libostentus.h>
static const struct device *o_dev = DEVICE_DT_GET_ANY(golioth_ostentus);
#endif
#ifdef CONFIG_ALUDEL_BATTERY_MONITOR
#include <battery_monitor.h>
#endif

static struct golioth_client *client;
/* Add Sensor structs here */

/* Callback for LightDB Stream */
static void async_error_handler(struct golioth_client *client, enum golioth_status status,
				const struct golioth_coap_rsp_code *coap_rsp_code, const char *path,
				void *arg)
{
	if (status != GOLIOTH_OK) {
		LOG_ERR("Async task failed: %d", status);
		return;
	}
}

/* This will be called by the main() loop */
/* Do all of your work here! */
void app_sensors_read_and_stream(void)
{
	int err;

	/* Golioth custom hardware for demos */
	IF_ENABLED(CONFIG_ALUDEL_BATTERY_MONITOR, (
		read_and_report_battery(client);
		IF_ENABLED(CONFIG_LIB_OSTENTUS, (
			ostentus_slide_set(o_dev,
					   BATTERY_V,
					   get_batt_v_str(),
					   strlen(get_batt_v_str()));
			ostentus_slide_set(o_dev,
					   BATTERY_PCT,
					   get_batt_pct_str(),
					   strlen(get_batt_pct_str()));
		));
	));

	/* Send sensor data to Golioth */
	/* For this demo, we just send counter data to Golioth */
	static uint16_t counter;

	/* Only stream sensor data if connected */
	if (golioth_client_is_connected(client)) {
		/* Encode sensor data using CBOR serialization */
		uint8_t cbor_buf[13];

		ZCBOR_STATE_E(zse, 1, cbor_buf, sizeof(cbor_buf), 1);

		bool ok = zcbor_map_start_encode(zse, 1) && zcbor_tstr_put_lit(zse, "counter") &&
			  zcbor_uint32_put(zse, counter) && zcbor_map_end_encode(zse, 1);

		if (!ok) {
			LOG_ERR("Failed to encode CBOR.");
			return;
		}

		size_t cbor_size = zse->payload - cbor_buf;

		LOG_DBG("Streaming counter: %d", counter);

		/* Stream data to Golioth */
		err = golioth_stream_set_async(client, "sensor", GOLIOTH_CONTENT_TYPE_CBOR,
					       cbor_buf, cbor_size, async_error_handler, NULL);
		if (err) {
			LOG_ERR("Failed to send sensor data to Golioth: %d", err);
		}
	} else {
		LOG_DBG("No connection available, skipping streaming counter: %d", counter);
	}

	/* Golioth custom hardware for demos */
	IF_ENABLED(CONFIG_LIB_OSTENTUS, (
		/* Update slide values on Ostentus
		 *  -values should be sent as strings
		 *  -use the enum from app_sensors.h for slide key values
		 */
		char sbuf[32];

		snprintk(sbuf, sizeof(sbuf), "%d", counter);
		ostentus_slide_set(o_dev, UP_COUNTER, sbuf, strlen(sbuf));
		snprintk(sbuf, sizeof(sbuf), "%d", 65535 - counter);
		ostentus_slide_set(o_dev, DN_COUNTER, sbuf, strlen(sbuf));
	));

	/* Increment for the next run */
	++counter;
}

void app_sensors_set_client(struct golioth_client *sensors_client)
{
	client = sensors_client;
}
```

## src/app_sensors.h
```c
/*
 * Copyright (c) 2022-2023 Golioth, Inc.
 *
 * SPDX-License-Identifier: Apache-2.0
 */

#ifndef __APP_SENSORS_H__
#define __APP_SENSORS_H__

/** The `app_sensors.c` file performs the important work of this application
 * which is to read sensor values and report them to the Golioth LightDB Stream
 * as time-series data.
 *
 * For this demonstration, a `counter` value is periodically logged and pushed
 * to the Golioth time-series database. This simulated sensor reading occurs
 * when the loop in `main.c` calls `app_sensors_read_and_stream()`. The
 * frequency of this loop is determined by values received from the Golioth
 * Settings Service (see app_settings.h).
 *
 * https://docs.golioth.io/firmware/zephyr-device-sdk/light-db-stream/
 */

#include <golioth/client.h>

void app_sensors_set_client(struct golioth_client *sensors_client);
void app_sensors_read_and_stream(void);

#define LABEL_UP_COUNTER "Counter"
#define LABEL_DN_COUNTER "Anti-counter"
#define LABEL_BATTERY	 "Battery"
#define LABEL_FIRMWARE	 "Firmware"
#define SUMMARY_TITLE	 "Counters:"

/**
 * Each Ostentus slide needs a unique key. You may add additional slides by
 * inserting elements with the name of your choice to this enum.
 */
typedef enum {
	UP_COUNTER,
	DN_COUNTER,
#ifdef CONFIG_ALUDEL_BATTERY_MONITOR
	BATTERY_V,
	BATTERY_PCT,
#endif
	FIRMWARE
} slide_key;

#endif /* __APP_SENSORS_H__ */
```

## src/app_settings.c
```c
/*
 * Copyright (c) 2022-2023 Golioth, Inc.
 *
 * SPDX-License-Identifier: Apache-2.0
 */

#include <zephyr/logging/log.h>
LOG_MODULE_REGISTER(app_settings, LOG_LEVEL_DBG);

#include <golioth/client.h>
#include <golioth/settings.h>
#include "main.h"
#include "app_settings.h"

static int32_t _loop_delay_s = 60;
#define LOOP_DELAY_S_MAX 43200
#define LOOP_DELAY_S_MIN 1

int32_t get_loop_delay_s(void)
{
	return _loop_delay_s;
}

static enum golioth_settings_status on_loop_delay_setting(int32_t new_value, void *arg)
{
	_loop_delay_s = new_value;
	LOG_INF("Set loop delay to %i seconds", new_value);
	wake_system_thread();
	return GOLIOTH_SETTINGS_SUCCESS;
}

int app_settings_register(struct golioth_client *client)
{
	struct golioth_settings *settings = golioth_settings_init(client);

	int err = golioth_settings_register_int_with_range(settings,
							   "LOOP_DELAY_S",
							   LOOP_DELAY_S_MIN,
							   LOOP_DELAY_S_MAX,
							   on_loop_delay_setting,
							   NULL);

	if (err) {
		LOG_ERR("Failed to register settings callback: %d", err);
	}

	return err;
}
```

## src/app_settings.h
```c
/*
 * Copyright (c) 2022-2023 Golioth, Inc.
 *
 * SPDX-License-Identifier: Apache-2.0
 */

/**
 * Process changes received from the Golioth Settings Service and return a code
 * to Golioth to indicate the success or failure of the update.
 *
 * In this demonstration, the device looks for the `LOOP_DELAY_S` key from the
 * Settings Service and uses this value to determine the delay between sensor
 * reads (the period of sleep in the loop of `main.c`.
 *
 * https://docs.golioth.io/firmware/zephyr-device-sdk/device-settings-service
 */

#ifndef __APP_SETTINGS_H__
#define __APP_SETTINGS_H__

#include <stdint.h>
#include <golioth/client.h>

int32_t get_loop_delay_s(void);
int app_settings_register(struct golioth_client *client);

#endif /* __APP_SETTINGS_H__ */
```

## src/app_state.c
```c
/*
 * Copyright (c) 2022-2023 Golioth, Inc.
 *
 * SPDX-License-Identifier: Apache-2.0
 */

#include <zephyr/logging/log.h>
LOG_MODULE_REGISTER(app_state, LOG_LEVEL_DBG);

#include <golioth/client.h>
#include <golioth/lightdb_state.h>
#include <zephyr/data/json.h>
#include <zephyr/kernel.h>
#include "json_helper.h"

#include "app_state.h"
#include "app_sensors.h"

#define DEVICE_STATE_FMT "{\"example_int0\":%d,\"example_int1\":%d}"

uint32_t _example_int0;
uint32_t _example_int1 = 1;

static struct golioth_client *client;

static void async_handler(struct golioth_client *client,
			  enum golioth_status status,
			  const struct golioth_coap_rsp_code *coap_rsp_code,
			  const char *path,
			  void *arg)
{
	if (status != GOLIOTH_OK) {
		LOG_WRN("Failed to set state: %d", status);
		return;
	}

	LOG_DBG("State successfully set");
}

int app_state_reset_desired(void)
{
	LOG_INF("Resetting \"%s\" LightDB State endpoint to defaults.", APP_STATE_DESIRED_ENDP);

	char sbuf[sizeof(DEVICE_STATE_FMT) + 4]; /* space for two "-1" values */

	snprintk(sbuf, sizeof(sbuf), DEVICE_STATE_FMT, -1, -1);

	int err;
	err = golioth_lightdb_set_async(client,
					APP_STATE_DESIRED_ENDP,
					GOLIOTH_CONTENT_TYPE_JSON,
					sbuf,
					strlen(sbuf),
					async_handler,
					NULL);
	if (err) {
		LOG_ERR("Unable to write to LightDB State: %d", err);
	}
	return err;
}

int app_state_update_actual(void)
{

	char sbuf[sizeof(DEVICE_STATE_FMT) + 10]; /* space for uint16 values */

	snprintk(sbuf, sizeof(sbuf), DEVICE_STATE_FMT, _example_int0, _example_int1);

	int err;

	err = golioth_lightdb_set_async(client,
					APP_STATE_ACTUAL_ENDP,
					GOLIOTH_CONTENT_TYPE_JSON,
					sbuf,
					strlen(sbuf),
					async_handler,
					NULL);

	if (err) {
		LOG_ERR("Unable to write to LightDB State: %d", err);
	}
	return err;
}

static void app_state_desired_handler(struct golioth_client *client, enum golioth_status status,
				      const struct golioth_coap_rsp_code *coap_rsp_code,
				      const char *path, const uint8_t *payload, size_t payload_size,
				      void *arg)
{
	int err = 0;
	int ret;

	if (status != GOLIOTH_OK) {
		LOG_ERR("Failed to receive '%s' endpoint: %d", APP_STATE_DESIRED_ENDP, status);
		return;
	}

	LOG_HEXDUMP_DBG(payload, payload_size, APP_STATE_DESIRED_ENDP);

	struct app_state parsed_state;

	ret = json_obj_parse((char *)payload, payload_size, app_state_descr,
			     ARRAY_SIZE(app_state_descr), &parsed_state);

	if (ret < 0) {
		LOG_ERR("Error parsing desired values: %d", ret);
		app_state_reset_desired();
		return;
	}

	uint8_t desired_processed_count = 0;
	uint8_t state_change_count = 0;

	if (ret & 1 << 0) {
		/* Process example_int0 */
		if ((parsed_state.example_int0 >= 0) && (parsed_state.example_int0 < 65536)) {
			LOG_DBG("Validated desired example_int0 value: %d",
				parsed_state.example_int0);
			if (_example_int0 != parsed_state.example_int0) {
				_example_int0 = parsed_state.example_int0;
				++state_change_count;
			}
			++desired_processed_count;
		} else if (parsed_state.example_int0 == -1) {
			LOG_DBG("No change requested for example_int0");
		} else {
			LOG_ERR("Invalid desired example_int0 value: %d",
				parsed_state.example_int0);
			++desired_processed_count;
		}
	}
	if (ret & 1 << 1) {
		/* Process example_int1 */
		if ((parsed_state.example_int1 >= 0) && (parsed_state.example_int1 < 65536)) {
			LOG_DBG("Validated desired example_int1 value: %d",
				parsed_state.example_int1);
			if (_example_int1 != parsed_state.example_int1) {
				_example_int1 = parsed_state.example_int1;
				++state_change_count;
			}
			++desired_processed_count;
		} else if (parsed_state.example_int1 == -1) {
			LOG_DBG("No change requested for example_int1");
		} else {
			LOG_ERR("Invalid desired example_int1 value: %d",
				parsed_state.example_int1);
			++desired_processed_count;
		}
	}

	if (state_change_count) {
		/* The state was changed, so update the state on the Golioth servers */
		err = app_state_update_actual();
	}
	if (desired_processed_count) {
		/* We processed some desired changes to return these to -1 on the server
		 * to indicate the desired values were received.
		 */
		err = app_state_reset_desired();
	}

	if (err) {
		LOG_ERR("Failed to update cloud state: %d", err);
	}
}

int app_state_observe(struct golioth_client *state_client)
{
	int err;

	client = state_client;

	err = golioth_lightdb_observe_async(client,
					    APP_STATE_DESIRED_ENDP,
					    GOLIOTH_CONTENT_TYPE_JSON,
					    app_state_desired_handler,
					    NULL);
	if (err) {
		LOG_WRN("failed to observe lightdb path: %d", err);
		return err;
	}

	/* This will only run once. It updates the actual state of the device
	 * with the Golioth servers. Future updates will be sent whenever
	 * changes occur.
	 */
	err = app_state_update_actual();

	return err;
}
```

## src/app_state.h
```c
/*
 * Copyright (c) 2022-2023 Golioth, Inc.
 *
 * SPDX-License-Identifier: Apache-2.0
 */

/** Observe and write to example endpoints for stateful data on the Golioth
 * LightDB State Service.
 *
 * This demonstration exhibits (the concept of Digital
 * Twin)[https://blog.golioth.io/better-iot-design-patterns-desired-state-vs-actual-state/].
 * It implements a _desired_ state which the cloud can set to request the device
 * change its state, and an _actual_ state where the device reports its state.
 *
 * After receiving and processing a desired state, the device will reset the
 * desired state (`APP_STATE_DESIRED_ENDP`) to `-1` indicating the data has been
 * processed, and update the actual state (`APP_STATE_ACTUAL_ENDP`) to report
 * the new state of the device.
 *
 * The device should write to the _actual state_ endpoint, the cloud should not.
 * By convention the cloud should consider the _actual state_ values read-only.
 *
 * https://docs.golioth.io/firmware/zephyr-device-sdk/light-db/
 */

#ifndef __APP_STATE_H__
#define __APP_STATE_H__

#include <golioth/client.h>

#define APP_STATE_DESIRED_ENDP "desired"
#define APP_STATE_ACTUAL_ENDP  "state"
#define APP_STATE_WIFI_LTE_LOC_ENDP "wifi_lte_loc_resp"

int app_state_observe(struct golioth_client *state_client);
int app_state_update_actual(void);

#endif /* __APP_STATE_H__ */
```
